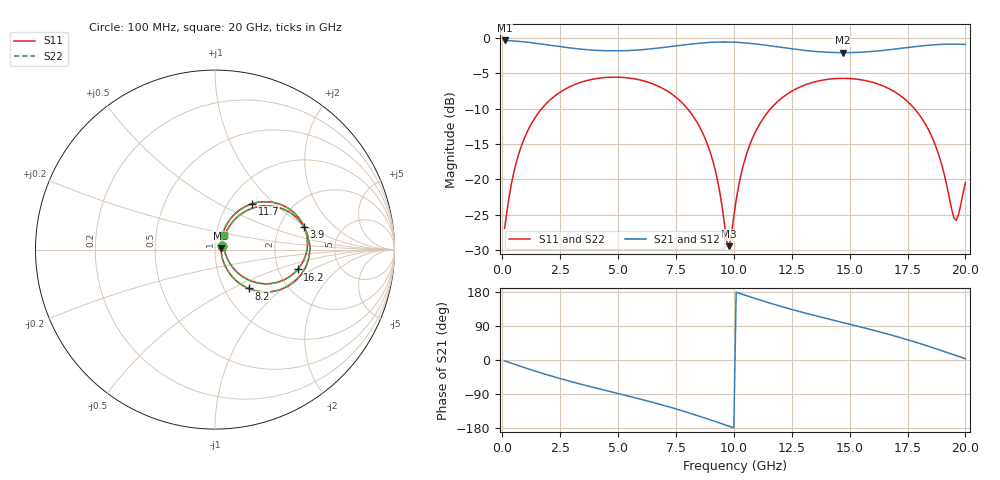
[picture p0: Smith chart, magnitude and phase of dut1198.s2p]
! Touchstone file exported from HFSS 2026.1.0
!  File:  C:/ffzhzh/LocalFiles/Ansys_Project_Files/temp_train_TSV_RDL_1198_1783317988_38704.aedt
!  Generated:  02:21:24 PM Jul  6, 2026
!  Design:  TSV_RDL
!  Project:  temp_train_TSV_RDL_1198_1783317988_38704
! Variables:
!  h_bsmrdl = 5.87um
!  h_ox = 20um
!  h_rdl = 5um
!  h_sub = 94.01um
!  h_tmrdl = 2.7um
!  h_tsv = 94.01um
!  h_via = 3um
!  l_bsmrdl = 910.34um
!  l_sub = 5830.11um
!  l_tmrdl = 654.98um
!  m_sub = 200um
!  pitch = 35.97um
!  r_tsv = 7.76um
!  s_tmrdl = 10um
!  w_bsmrdl = 13.85um
!  w_sub = 500um
!  w_tmrdl = 12.54um
!  x_tsv_center1 = 661.25um
!  x_tsv_center2 = 1585.44um
!  x_tsv_center3 = 2252.96um
!  x_tsv_center4 = 3177.15um
!  x_tsv_center5 = 3844.67um
!  x_tsv_center6 = 4768.86um
# GHz S MA R 50.000000
! Terminal data exported
! Port[1] = TM_RDL1_1_T1
! Port[2] = TM_RDL5_1_T1
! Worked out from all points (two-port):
!   200 points, 100 MHz to 20 GHz, reference 50 ohm
!   highest |S21| = -0.35 dB at 100 MHz (marker M1); lowest = -2.1 dB at 14.7 GHz (marker M2)
!   |S21| within 3 dB of the highest: start of sweep to end of sweep
!   lowest |S11| = -29.5 dB at 9.8 GHz (marker M3), VSWR 1.07, Z = 53.4 + j0.716 ohm
!   |S11| at or under -10 dB: start of sweep to 1.707 GHz; 7.993 GHz to 11.59 GHz (3.602 GHz wide, 36.8 % of centre); 17.8 GHz to end of sweep
!   |S22| runs from -29.5 to -5.5 dB; largest |S21 - S12| = 1.6e-14
!   S11 on the Smith chart (normalised r, x): 100 MHz: 1.08, +0.04; 3.9 GHz: 2.71, +0.94; 8.2 GHz: 1.30, -0.61; 11.7 GHz: 1.29, +0.74; 16.2 GHz: 2.56, -0.73; 20 GHz: 1.09, +0.18
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0.1  0.04501 26.7  0.9604 -2.2  0.9604 -2.2  0.04501 26.7
! Gamma 0 0 0 0
! Port Impedance 50 0 50 0
0.6  0.1309 58.2  0.9498 -12.8  0.9498 -12.8  0.1309 58.2
1.2  0.2375 54.4  0.9282 -25.0  0.9282 -25.0  0.2375 54.4
2.2  0.3806 39.8  0.8819 -43.8  0.8819 -43.8  0.3806 39.8
3.5  0.4917 20.3  0.8305 -65.5  0.8305 -65.5  0.4917 20.3
3.9  0.5103 14.5  0.8206 -71.8  0.8206 -71.8  0.5103 14.5
5.3  0.5242 -5.3  0.8133 -93.0  0.8133 -93.0  0.5242 -5.3
6.8  0.4505 -27.3  0.8508 -116.9  0.8508 -116.9  0.4505 -27.3
8.2  0.2857 -49.2  0.9073 -142.2  0.9073 -142.2  0.2857 -49.2
9.1  0.1336 -58.8  0.9327 -160.3  0.9327 -160.3  0.1335 -58.9
9.8  0.03357 11.5  0.936 -174.8  0.936 -174.8  0.03341 11.5
10.1  0.07124 59.0  0.9322 179.0  0.9322 179.0  0.07115 59.1
10.7  0.1769 64.2  0.9162 166.7  0.9162 166.7  0.1769 64.2
11.7  0.3303 50.8  0.8738 147.5  0.8738 147.5  0.3303 50.8
13.4  0.4842 25.5  0.806 118.8  0.806 118.8  0.4841 25.5
14.7  0.5178 7.4  0.7871 99.0  0.7871 99.0  0.5177 7.4
16.2  0.4739 -13.5  0.8089 75.8  0.8089 75.8  0.4738 -13.5
16.7  0.4378 -20.7  0.825 67.6  0.825 67.6  0.4378 -20.7
18.4  0.2248 -43.8  0.8882 36.4  0.8882 36.4  0.2248 -44.0
18.9  0.14 -45.2  0.9002 26.2  0.9002 26.2  0.1398 -45.4
19.6  0.05111 13.4  0.9045 11.7  0.9045 11.7  0.05027 13.4
20  0.09478 59.3  0.8996 3.4  0.8996 3.4  0.09426 59.7
